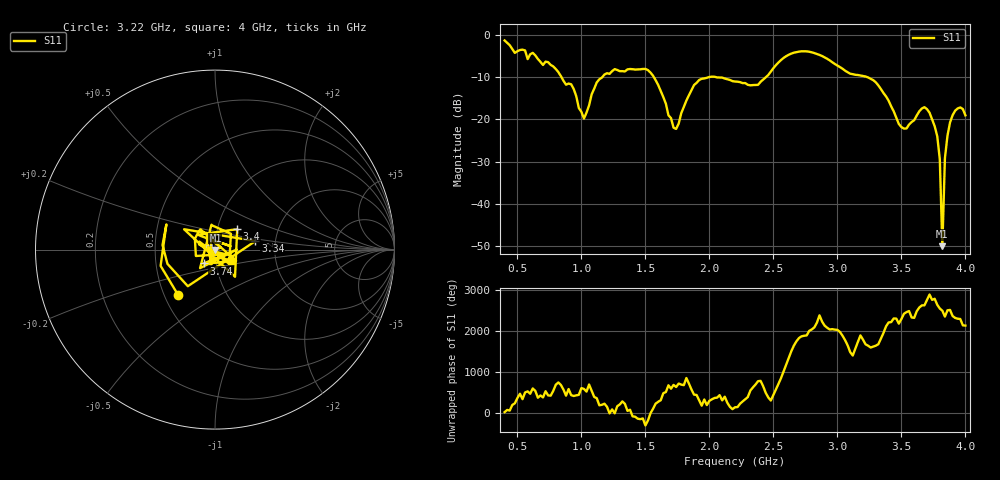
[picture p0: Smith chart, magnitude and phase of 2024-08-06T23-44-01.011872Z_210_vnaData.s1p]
!Created with skrf (http://scikit-rf.org).
# Hz S RI R 50.0
!freq ReS11 ImS11
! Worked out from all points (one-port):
!   181 points, 400 MHz to 4 GHz, reference 50 ohm
!   lowest |S11| = -50.1 dB at 3.82 GHz (marker M1), VSWR 1.01, Z = 50.3 - j0.17 ohm
!   |S11| at or under -10 dB: 1.567 GHz to 1.989 GHz (421.1 MHz wide, 23.7 % of centre); 2.065 GHz to 2.439 GHz (374.5 MHz wide, 16.6 % of centre); 3.24 GHz to end of sweep (the widest 3 of 4)
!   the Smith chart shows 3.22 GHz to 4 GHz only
!   S11 on the Smith chart (normalised r, x): 3.22 GHz: 0.59, -0.33; 3.34 GHz: 1.57, +0.16; 3.4 GHz: 1.25, +0.29; 3.74 GHz: 0.87, -0.14; 4 GHz: 1.19, -0.16
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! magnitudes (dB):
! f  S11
! 400 MHz  -1.2
! 860 MHz  -10.8
! 920 MHz  -11.6
! 1.02 GHz  -19.8
! 1.12 GHz  -11.2
! 1.3 GHz  -8.5
! 1.52 GHz  -8.3
! 1.72 GHz  -22.0
! 1.76 GHz  -21.0
! 1.92 GHz  -10.6
! 2.2 GHz  -11.0
! 2.38 GHz  -11.8
! 2.66 GHz  -4.1
! 3.1 GHz  -9.1
! 3.22 GHz  -9.8
! 3.34 GHz  -12.8
! 3.4 GHz  -15.5
! 3.5 GHz  -21.8
! 3.56 GHz  -21.2
! 3.68 GHz  -17.1
! 3.74 GHz  -20.0
! 3.78 GHz  -24.0
! 3.8 GHz  -29.4
! 3.82 GHz  -50.1
! 3.84 GHz  -29.2
! 3.86 GHz  -23.9
! 3.92 GHz  -17.9
! 4 GHz  -19.0
